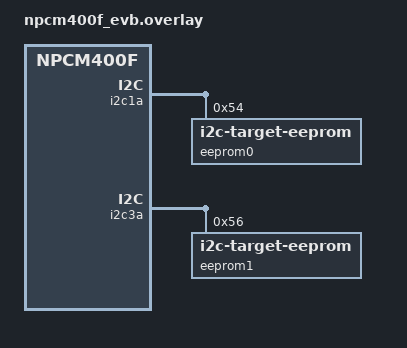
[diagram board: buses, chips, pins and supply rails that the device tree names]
/*
 * Copyright (c) 2024 Nuvoton Technology Corporation.
 *
 * SPDX-License-Identifier: Apache-2.0
 */

&i2c1a {
	status = "okay";
	eeprom0: eeprom@54 {
		compatible = "zephyr,i2c-target-eeprom";
		reg = <0x54>;
		size = <1024>;
	};
};

&i2c3a {
	status = "okay";
	eeprom1: eeprom@56 {
		compatible = "zephyr,i2c-target-eeprom";
		reg = <0x56>;
		size = <1024>;
	};
};
